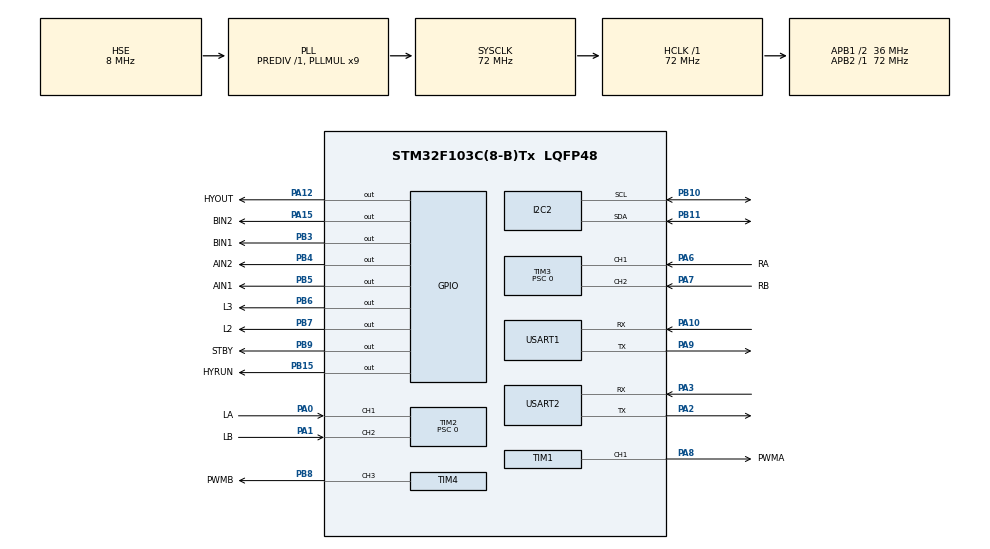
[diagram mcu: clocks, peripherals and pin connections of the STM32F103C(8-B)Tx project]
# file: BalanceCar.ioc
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Mcu.Family=STM32F1
PB10.Mode=I2C
TIM3.EncoderMode=TIM_ENCODERMODE_TI12
PA6.GPIO_Label=RA
PB6.GPIO_Label=L3
TIM2.EncoderMode=TIM_ENCODERMODE_TI12
PB11.Signal=I2C2_SDA
PB15.Signal=GPIO_Output
RCC.SYSCLKSource=RCC_SYSCLKSOURCE_PLLCLK
ProjectManager.StackSize=0x400
PD1-OSC_OUT.Signal=RCC_OSC_OUT
PA15.GPIO_Label=BIN2
PA12.Signal=GPIO_Output
TIM1.Prescaler=49
PB3.PinState=GPIO_PIN_RESET
RCC.HCLKFreq_Value=72000000
RCC.APB2TimFreq_Value=72000000
TIM3.Period=0xffff
PB6.Signal=GPIO_Output
TIM2.ClockDivision=TIM_CLOCKDIVISION_DIV1
RCC.AHBFreq_Value=72000000
TIM4.Channel-PWM\ Generation3\ CH3=TIM_CHANNEL_3
RCC.PLLMUL=RCC_PLL_MUL9
PA14.Mode=Serial_Wire
TIM3.Prescaler=0
PB7.Signal=GPIO_Output
PA8.Signal=S_TIM1_CH1
SH.S_TIM3_CH1.0=TIM3_CH1,Encoder_Interface
TIM4.Period=7199
VP_TIM1_VS_ClockSourceINT.Mode=Internal
PB7.GPIO_Label=L2
Mcu.Package=LQFP48
PB9.Signal=GPIO_Output
TIM2.Prescaler=0
PA6.Signal=S_TIM3_CH1
USART2.VirtualMode=VM_ASYNC
PA10.Signal=USART1_RX
PA15.Signal=GPIO_Output
PB5.GPIO_Label=AIN1
RCC.APB1TimFreq_Value=72000000
TIM1.Period=7199
NVIC.USART1_IRQn=true\:0\:0\:false\:false\:true\:true\:true
PB4.Signal=GPIO_Output
PA3.Signal=USART2_RX
PB3.GPIO_Label=BIN1
RCC.PLLSourceVirtual=RCC_PLLSOURCE_HSE
TIM4.AutoReloadPreload=TIM_AUTORELOAD_PRELOAD_ENABLE
PD1-OSC_OUT.Mode=HSE-External-Oscillator
PB9.GPIO_Label=STBY
PA10.Mode=Asynchronous
TIM3.AutoReloadPreload=TIM_AUTORELOAD_PRELOAD_DISABLE
PD0-OSC_IN.Signal=RCC_OSC_IN
RCC.APB1CLKDivider=RCC_HCLK_DIV2
PA12.GPIO_Label=HYOUT
PA0-WKUP.GPIO_Label=LA
PA0-WKUP.Signal=S_TIM2_CH1_ETR
PA13.Signal=SYS_JTMS-SWDIO
PA3.Mode=Asynchronous
TIM1.AutoReloadPreload=TIM_AUTORELOAD_PRELOAD_ENABLE
PB8.GPIO_Label=PWMB
SH.S_TIM2_CH2.0=TIM2_CH2,Encoder_Interface
PA9.Mode=Asynchronous
PA8.GPIO_Label=PWMA
SH.S_TIM1_CH1.0=TIM1_CH1,Output Compare1 CH1
PB11.Mode=I2C
ProjectManager.TargetToolchain=STM32CubeIDE
SH.S_TIM4_CH3.0=TIM4_CH3,PWM Generation3 CH3
PA9.Signal=USART1_TX
RCC.USBFreq_Value=72000000
TIM4.Prescaler=499
PA1.Signal=S_TIM2_CH2
PD0-OSC_IN.Mode=HSE-External-Oscillator
PB10.Signal=I2C2_SCL
SH.S_TIM3_CH2.0=TIM3_CH2,Encoder_Interface
board=custom
PA15.PinState=GPIO_PIN_SET
RCC.APB2Freq_Value=72000000
PB4.GPIO_Label=AIN2
PB15.GPIO_Label=HYRUN
PA1.GPIO_Label=LB
TIM2.Period=0xffff
PA13.Mode=Serial_Wire
Mcu.Name=STM32F103C(8-B)Tx
PA2.Signal=USART2_TX
PB3.Signal=GPIO_Output
RCC.SYSCLKFreq_VALUE=72000000
PB5.Signal=GPIO_Output
PA7.GPIO_Label=RB
USART1.VirtualMode=VM_ASYNC
PB9.PinState=GPIO_PIN_SET
SH.S_TIM2_CH1_ETR.0=TIM2_CH1,Encoder_Interface
PA14.Signal=SYS_JTCK-SWCLK
ProjectManager.HeapSize=0x200
TIM1.Channel-Output\ Compare1\ CH1=TIM_CHANNEL_1
VP_TIM4_VS_ClockSourceINT.Mode=Internal
NVIC.PriorityGroup=NVIC_PRIORITYGROUP_4
PA2.Mode=Asynchronous
PB8.Signal=S_TIM4_CH3
TIM2.AutoReloadPreload=TIM_AUTORELOAD_PRELOAD_DISABLE
NVIC.TIM4_IRQn=true\:0\:0\:false\:false\:true\:true\:true
RCC.APB1Freq_Value=36000000
PA7.Signal=S_TIM3_CH2

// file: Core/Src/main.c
/* USER CODE BEGIN Header */
/**
  ******************************************************************************
  * @file           : main.c
  * @brief          : Main program body
  ******************************************************************************
  * @attention
  *
  * <h2><center>&copy; Copyright (c) 2021 STMicroelectronics.
  * All rights reserved.</center></h2>
  *
  * This software component is licensed by ST under BSD 3-Clause license,
  * the "License"; You may not use this file except in compliance with the
  * License. You may obtain a copy of the License at:
  *                        opensource.org/licenses/BSD-3-Clause
  *
  ******************************************************************************
  */
/* USER CODE END Header */
#include "main.h"
#include "i2c.h"
#include "tim.h"
#include "usart.h"
#include "gpio.h"

/* USER CODE BEGIN Includes */

#include "control.h"
#include <stdio.h>
#include <string.h>

extern UART_HandleTypeDef huart1;
#include "MPU6050/mpu6050.h"
/* USER CODE END Includes */

/* USER CODE BEGIN PV */
uint8_t aRxBuffer;            //接收中断缓冲
uint8_t Uart1_Rx_Cnt = 0;        //接收缓冲计数
/* USER CODE END PV */

void SystemClock_Config(void);

/* USER CODE BEGIN 0 */
#ifdef __GNUC__

#define PUTCHAR_PROTOTYPE int __io_putchar(int ch)

PUTCHAR_PROTOTYPE
{
    //注意下面第一个参数是&husart1，因为cubemx配置了串�??????1自动生成�??????
    HAL_UART_Transmit(&huart1 ,(uint8_t*)&ch, 1, HAL_MAX_DELAY);
    return ch;
}
#endif
/* USER CODE END 0 */

int main(void)
{

  /* MCU Configuration--------------------------------------------------------*/

  /* Reset of all peripherals, Initializes the Flash interface and the Systick. */
  HAL_Init();

  /* Configure the system clock */
  SystemClock_Config();

  /* Initialize all configured peripherals */
  MX_GPIO_Init();
  MX_I2C2_Init();
  MX_TIM1_Init();
  MX_TIM2_Init();
  MX_TIM3_Init();
  MX_TIM4_Init();
  MX_USART1_UART_Init();
  MX_USART2_UART_Init();
  /* USER CODE BEGIN 2 */
    MPU6050_initialize();
    DMP_Init();
    HAL_TIM_PWM_Start(&htim4,TIM_CHANNEL_3);//right
    HAL_TIM_PWM_Start(&htim1,TIM_CHANNEL_1);//left
    //TIM4->CCR3 =499;
    HAL_UART_Receive_IT(&huart1, (uint8_t *)&aRxBuffer, 1);//启动串口中断
    HAL_TIM_Base_Start_IT(&htim4);//control函数,72M/500/7200=50ms
    HAL_TIM_Encoder_Start(&htim2, TIM_CHANNEL_ALL);
    HAL_TIM_Encoder_Start(&htim3, TIM_CHANNEL_ALL);//发动编码�?

  /* USER CODE END 2 */

  /* Infinite loop */
  while (1)
  {

  }
}

void SystemClock_Config(void)
{
  RCC_OscInitTypeDef RCC_OscInitStruct = {0};
  RCC_ClkInitTypeDef RCC_ClkInitStruct = {0};

  /** Initializes the RCC Oscillators according to the specified parameters
  * in the RCC_OscInitTypeDef structure.
  */
  RCC_OscInitStruct.OscillatorType = RCC_OSCILLATORTYPE_HSE;
  RCC_OscInitStruct.HSEState = RCC_HSE_ON;
  RCC_OscInitStruct.HSEPredivValue = RCC_HSE_PREDIV_DIV1;
  RCC_OscInitStruct.HSIState = RCC_HSI_ON;
  RCC_OscInitStruct.PLL.PLLState = RCC_PLL_ON;
  RCC_OscInitStruct.PLL.PLLSource = RCC_PLLSOURCE_HSE;
  RCC_OscInitStruct.PLL.PLLMUL = RCC_PLL_MUL9;
  if (HAL_RCC_OscConfig(&RCC_OscInitStruct) != HAL_OK)
  {
    Error_Handler();
  }
  /** Initializes the CPU, AHB and APB buses clocks
  */
  RCC_ClkInitStruct.ClockType = RCC_CLOCKTYPE_HCLK|RCC_CLOCKTYPE_SYSCLK
                              |RCC_CLOCKTYPE_PCLK1|RCC_CLOCKTYPE_PCLK2;
  RCC_ClkInitStruct.SYSCLKSource = RCC_SYSCLKSOURCE_PLLCLK;
  RCC_ClkInitStruct.AHBCLKDivider = RCC_SYSCLK_DIV1;
  RCC_ClkInitStruct.APB1CLKDivider = RCC_HCLK_DIV2;
  RCC_ClkInitStruct.APB2CLKDivider = RCC_HCLK_DIV1;

  if (HAL_RCC_ClockConfig(&RCC_ClkInitStruct, FLASH_LATENCY_2) != HAL_OK)
  {
    Error_Handler();
  }
}

/* USER CODE BEGIN 4 */
void HAL_UART_RxCpltCallback(UART_HandleTypeDef *huart) {
    /* Prevent unused argument(s) compilation warning */
    UNUSED(huart);
    /* NOTE: This function Should not be modified, when the callback is needed,
             the HAL_UART_TxCpltCallback could be implemented in the user file
     */

    if (Uart1_Rx_Cnt >= 255)  //溢出判断
    {
        Uart1_Rx_Cnt = 0;
        memset(RxBuffer, 0x00, sizeof(RxBuffer));
        HAL_UART_Transmit(&huart1, (uint8_t *) "数据溢出", 10, 0xFFFF);

    } else {
        RxBuffer[Uart1_Rx_Cnt++] = aRxBuffer;   //接收数据转存

        if (RxBuffer[Uart1_Rx_Cnt - 1] == '#') //判断结束位，数据长度-1获取数据结尾确保数据完整�??????
        {
            //HAL_UART_Transmit(&huart1, (uint8_t *) &RxBuffer, Uart1_Rx_Cnt, 0xFFFF); //将收到的信息发�?�出�??????
            //while (HAL_UART_GetState(&huart1) == HAL_UART_STATE_BUSY_TX);//�??????测UART发�?�结�??????

            //你的逻辑
            bluetooth();
            Uart1_Rx_Cnt = 0;//清空计数
            memset(RxBuffer, 0x00, sizeof(RxBuffer)); //清空数组
        }
    }

    HAL_UART_Receive_IT(&huart1, (uint8_t *) &aRxBuffer, 1);   //再开启接收中�??????
}

void HAL_TIM_PeriodElapsedCallback(TIM_HandleTypeDef *htim)
{
    static unsigned char ledState = 0;
    if (htim == (&htim4))
    {
        //time_count++;//精确测算速度

        control();
    }
}
/* USER CODE END 4 */

void Error_Handler(void)
{
  __disable_irq();
  while (1)
  {
  }
}

/************************ (C) COPYRIGHT STMicroelectronics *****END OF FILE****/
